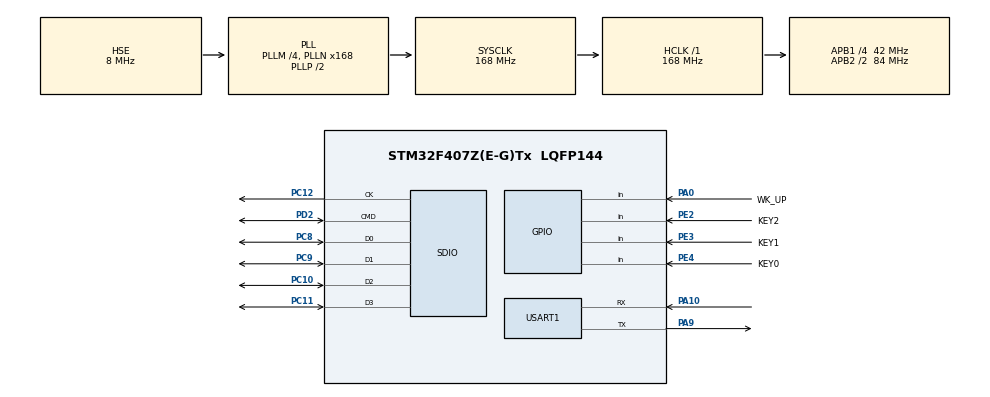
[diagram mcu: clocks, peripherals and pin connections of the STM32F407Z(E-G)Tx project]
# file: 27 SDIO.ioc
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Dma.Request0=SDIO_RX
Dma.Request1=SDIO_TX
Dma.SDIO_RX.0.Direction=DMA_PERIPH_TO_MEMORY
Dma.SDIO_RX.0.FIFOMode=DMA_FIFOMODE_ENABLE
Dma.SDIO_RX.0.FIFOThreshold=DMA_FIFO_THRESHOLD_FULL
Dma.SDIO_RX.0.Instance=DMA2_Stream3
Dma.SDIO_RX.0.MemBurst=DMA_MBURST_INC4
Dma.SDIO_RX.0.MemDataAlignment=DMA_MDATAALIGN_WORD
Dma.SDIO_RX.0.MemInc=DMA_MINC_ENABLE
Dma.SDIO_RX.0.Mode=DMA_PFCTRL
Dma.SDIO_RX.0.PeriphBurst=DMA_PBURST_INC4
Dma.SDIO_RX.0.PeriphDataAlignment=DMA_PDATAALIGN_WORD
Dma.SDIO_RX.0.PeriphInc=DMA_PINC_DISABLE
Dma.SDIO_RX.0.Priority=DMA_PRIORITY_LOW
Dma.SDIO_TX.1.Direction=DMA_MEMORY_TO_PERIPH
Dma.SDIO_TX.1.FIFOMode=DMA_FIFOMODE_ENABLE
Dma.SDIO_TX.1.FIFOThreshold=DMA_FIFO_THRESHOLD_FULL
Dma.SDIO_TX.1.Instance=DMA2_Stream6
Dma.SDIO_TX.1.MemBurst=DMA_MBURST_INC4
Dma.SDIO_TX.1.MemDataAlignment=DMA_MDATAALIGN_WORD
Dma.SDIO_TX.1.MemInc=DMA_MINC_ENABLE
Dma.SDIO_TX.1.Mode=DMA_PFCTRL
Dma.SDIO_TX.1.PeriphBurst=DMA_PBURST_INC4
Dma.SDIO_TX.1.PeriphDataAlignment=DMA_PDATAALIGN_WORD
Dma.SDIO_TX.1.PeriphInc=DMA_PINC_DISABLE
Dma.SDIO_TX.1.Priority=DMA_PRIORITY_LOW
Mcu.Family=STM32F4
Mcu.Name=STM32F407Z(E-G)Tx
Mcu.Package=LQFP144
NVIC.DMA2_Stream3_IRQn=true\:2\:0\:true\:false\:true\:true\:true\:true
NVIC.DMA2_Stream6_IRQn=true\:2\:0\:true\:false\:true\:true\:true\:true
NVIC.PriorityGroup=NVIC_PRIORITYGROUP_2
NVIC.SDIO_IRQn=true\:1\:0\:true\:false\:true\:true\:true\:true
PA0-WKUP.GPIO_Label=WK_UP
PA0-WKUP.GPIO_PuPd=GPIO_PULLDOWN
PA0-WKUP.Signal=GPIO_Input
PA10.Mode=Asynchronous
PA10.Signal=USART1_RX
PA13.Mode=Serial_Wire
PA13.Signal=SYS_JTMS-SWDIO
PA14.Mode=Serial_Wire
PA14.Signal=SYS_JTCK-SWCLK
PA9.Mode=Asynchronous
PA9.Signal=USART1_TX
PC10.Mode=SD_4_bits_Wide_bus
PC10.Signal=SDIO_D2
PC11.Mode=SD_4_bits_Wide_bus
PC11.Signal=SDIO_D3
PC12.Mode=SD_4_bits_Wide_bus
PC12.Signal=SDIO_CK
PC14-OSC32_IN.Mode=LSE-External-Oscillator
PC14-OSC32_IN.Signal=RCC_OSC32_IN
PC15-OSC32_OUT.Mode=LSE-External-Oscillator
PC15-OSC32_OUT.Signal=RCC_OSC32_OUT
PC8.Mode=SD_4_bits_Wide_bus
PC8.Signal=SDIO_D0
PC9.Mode=SD_4_bits_Wide_bus
PC9.Signal=SDIO_D1
PD2.Mode=SD_4_bits_Wide_bus
PD2.Signal=SDIO_CMD
PE2.GPIO_Label=KEY2
PE2.GPIO_PuPd=GPIO_PULLUP
PE2.Signal=GPIO_Input
PE3.GPIO_Label=KEY1
PE3.GPIO_PuPd=GPIO_PULLUP
PE3.Signal=GPIO_Input
PE4.GPIO_Label=KEY0
PE4.GPIO_PuPd=GPIO_PULLUP
PE4.Signal=GPIO_Input
PH0-OSC_IN.Mode=HSE-External-Oscillator
PH0-OSC_IN.Signal=RCC_OSC_IN
PH1-OSC_OUT.Mode=HSE-External-Oscillator
PH1-OSC_OUT.Signal=RCC_OSC_OUT
ProjectManager.HeapSize=0x200
ProjectManager.StackSize=0x400
ProjectManager.TargetToolchain=MDK-ARM V5.32
RCC.48MHZClocksFreq_Value=48000000
RCC.AHBFreq_Value=168000000
RCC.APB1CLKDivider=RCC_HCLK_DIV4
RCC.APB1Freq_Value=42000000
RCC.APB1TimFreq_Value=84000000
RCC.APB2CLKDivider=RCC_HCLK_DIV2
RCC.APB2Freq_Value=84000000
RCC.APB2TimFreq_Value=168000000
RCC.CortexFreq_Value=168000000
RCC.HCLKFreq_Value=168000000
RCC.HSE_VALUE=8000000
RCC.HSI_VALUE=16000000
RCC.PLLM=4
RCC.PLLN=168
RCC.PLLQ=7
RCC.PLLSourceVirtual=RCC_PLLSOURCE_HSE
RCC.SYSCLKFreq_VALUE=168000000
RCC.SYSCLKSource=RCC_SYSCLKSOURCE_PLLCLK
RCC.VCOOutputFreq_Value=336000000
SDIO.ClockDiv=4
USART1.VirtualMode=VM_ASYNC
board=custom

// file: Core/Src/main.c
/* USER CODE BEGIN Header */
/**
  ******************************************************************************
  * @file           : main.c
  * @brief          : Main program body
  ******************************************************************************
  * @attention
  *
  * Copyright (c) 2024 STMicroelectronics.
  * All rights reserved.
  *
  * This software is licensed under terms that can be found in the LICENSE file
  * in the root directory of this software component.
  * If no LICENSE file comes with this software, it is provided AS-IS.
  *
  ******************************************************************************
  */
/* USER CODE END Header */
#include "main.h"
#include "dma.h"
#include "sdio.h"
#include "usart.h"
#include "gpio.h"

/* USER CODE BEGIN Includes */
#include "stdio.h"
#include "string.h"
/* USER CODE END Includes */

/* USER CODE BEGIN PTD */
#ifdef __GNUC__
#define PUTCHAR_PROTOTYPE int __io_putchar(int ch)
#else
#define PUTCHAR_PROTOTYPE int fputc(int ch, FILE *f)
#endif
PUTCHAR_PROTOTYPE
{
    HAL_UART_Transmit(&huart1, (uint8_t *)&ch, 1, HAL_MAX_DELAY);
    return ch;
}
/* USER CODE END PTD */

void SystemClock_Config(void);

/* USER CODE BEGIN 0 */
/* Private define ------------------------------------------------------------*/
/* USER CODE BEGIN PD */

/* USER CODE END PD */

/* USER CODE BEGIN PV */

/* USER CODE END PV */

/* USER CODE END 0 */

int main(void)
{

  /* MCU Configuration--------------------------------------------------------*/

  /* Reset of all peripherals, Initializes the Flash interface and the Systick. */
  HAL_Init();

  /* Configure the system clock */
  SystemClock_Config();

  /* Initialize all configured peripherals */
  MX_GPIO_Init();
  MX_DMA_Init();
  MX_SDIO_SD_Init();
  MX_USART1_UART_Init();
  /* USER CODE BEGIN 2 */
	printf("Reset\r\n");
  /* USER CODE END 2 */

  /* Infinite loop */
  while (1)
  {

    /* USER CODE BEGIN 3 */
		/*WK_UP��������*/
		if(HAL_GPIO_ReadPin(WK_UP_GPIO_Port,WK_UP_Pin) == GPIO_PIN_SET)
		{
			HAL_Delay(50);
			if(HAL_GPIO_ReadPin(WK_UP_GPIO_Port,WK_UP_Pin) == GPIO_PIN_SET)
			{
				SDCard_ShowInfo();
				while(HAL_GPIO_ReadPin(WK_UP_GPIO_Port,WK_UP_Pin));
			}
		}

		/*KEY2��������*/
		if(HAL_GPIO_ReadPin(KEY2_GPIO_Port,KEY2_Pin) == GPIO_PIN_RESET)
		{
			HAL_Delay(50);
			if(HAL_GPIO_ReadPin(KEY2_GPIO_Port,KEY2_Pin) == GPIO_PIN_RESET)
			{
				SDCard_EraseBlocks();
				while(!HAL_GPIO_ReadPin(KEY2_GPIO_Port,KEY2_Pin));
			}
		}

		/*KEY1��������*/
		if(HAL_GPIO_ReadPin(KEY1_GPIO_Port,KEY1_Pin) == GPIO_PIN_RESET)
		{
			HAL_Delay(50);
			if(HAL_GPIO_ReadPin(KEY1_GPIO_Port,KEY1_Pin) == GPIO_PIN_RESET)
			{
				SDCard_TestWrite_DMA();
				while(!HAL_GPIO_ReadPin(KEY1_GPIO_Port,KEY1_Pin));
			}
		}

		/*KEY0��������*/
		if(HAL_GPIO_ReadPin(KEY0_GPIO_Port,KEY0_Pin) == GPIO_PIN_RESET)
		{
			HAL_Delay(50);
			if(HAL_GPIO_ReadPin(KEY0_GPIO_Port,KEY0_Pin) == GPIO_PIN_RESET)
			{
				SDCard_TestRead_DMA();
				while(!HAL_GPIO_ReadPin(KEY0_GPIO_Port,KEY0_Pin));
			}
		}
  }
  /* USER CODE END 3 */
}

void SystemClock_Config(void)
{
  RCC_OscInitTypeDef RCC_OscInitStruct = {0};
  RCC_ClkInitTypeDef RCC_ClkInitStruct = {0};

  /** Configure the main internal regulator output voltage
  */
  __HAL_RCC_PWR_CLK_ENABLE();
  __HAL_PWR_VOLTAGESCALING_CONFIG(PWR_REGULATOR_VOLTAGE_SCALE1);

  /** Initializes the RCC Oscillators according to the specified parameters
  * in the RCC_OscInitTypeDef structure.
  */
  RCC_OscInitStruct.OscillatorType = RCC_OSCILLATORTYPE_HSE;
  RCC_OscInitStruct.HSEState = RCC_HSE_ON;
  RCC_OscInitStruct.PLL.PLLState = RCC_PLL_ON;
  RCC_OscInitStruct.PLL.PLLSource = RCC_PLLSOURCE_HSE;
  RCC_OscInitStruct.PLL.PLLM = 4;
  RCC_OscInitStruct.PLL.PLLN = 168;
  RCC_OscInitStruct.PLL.PLLP = RCC_PLLP_DIV2;
  RCC_OscInitStruct.PLL.PLLQ = 7;
  if (HAL_RCC_OscConfig(&RCC_OscInitStruct) != HAL_OK)
  {
    Error_Handler();
  }

  /** Initializes the CPU, AHB and APB buses clocks
  */
  RCC_ClkInitStruct.ClockType = RCC_CLOCKTYPE_HCLK|RCC_CLOCKTYPE_SYSCLK
                              |RCC_CLOCKTYPE_PCLK1|RCC_CLOCKTYPE_PCLK2;
  RCC_ClkInitStruct.SYSCLKSource = RCC_SYSCLKSOURCE_PLLCLK;
  RCC_ClkInitStruct.AHBCLKDivider = RCC_SYSCLK_DIV1;
  RCC_ClkInitStruct.APB1CLKDivider = RCC_HCLK_DIV4;
  RCC_ClkInitStruct.APB2CLKDivider = RCC_HCLK_DIV2;

  if (HAL_RCC_ClockConfig(&RCC_ClkInitStruct, FLASH_LATENCY_5) != HAL_OK)
  {
    Error_Handler();
  }
}

void Error_Handler(void)
{
  __disable_irq();
  while (1)
  {
  }
}
